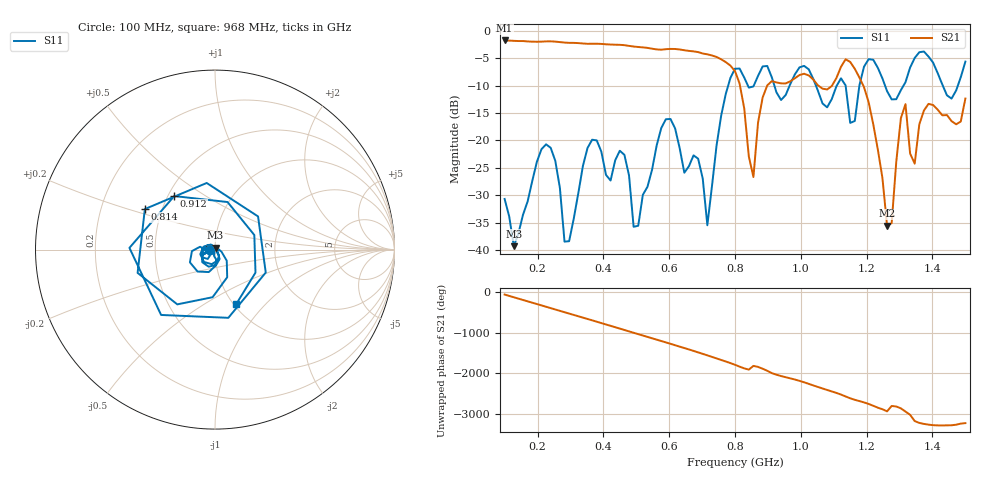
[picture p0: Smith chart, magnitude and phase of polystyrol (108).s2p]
! NanoVNA-App
! Date: 2025-09-26 09:42:43
! Start: 100MHz Stop: 1,5GHz Points: 101
! S-Parameter data: F S11 S21 S12 S22
# Hz S RI R 50
!  Frequency  S11_Real  S11_Imag  S21_Real  S21_Imag  S12_Real  S12_Imag  S22_Real  S22_Imag
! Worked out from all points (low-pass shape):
!   101 points, 100 MHz to 1.5 GHz, reference 50 ohm
!   highest |S21| = -1.79 dB at 100 MHz (marker M1); lowest = -35.5 dB at 1.262 GHz (marker M2)
!   |S21| within 3 dB of the highest: start of sweep to 743.5 MHz
!   lowest |S11| = -39.3 dB at 128 MHz (marker M3), VSWR 1.02, Z = 50.3 + j1.06 ohm
!   |S11| at or under -10 dB: start of sweep to 779.3 MHz; 1.046 GHz to 1.109 GHz (63.65 MHz wide, 5.91 % of centre); 1.256 GHz to 1.312 GHz (56.28 MHz wide, 4.38 % of centre) (the widest 3 of 7)
!   S12 and S22 are empty: the file has one direction only
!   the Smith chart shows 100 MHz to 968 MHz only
!   S11 on the Smith chart (normalised r, x): 100 MHz: 0.94, -0.01; 814 MHz: 0.40, +0.23; 912 MHz: 0.54, +0.37; 968 MHz: 1.03, -0.70
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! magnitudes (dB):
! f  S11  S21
! 100 MHz  -30.7  -1.8
! 128 MHz  -39.3  -1.9
! 212 MHz  -21.6  -2.0
! 282 MHz  -38.4  -2.2
! 338 MHz  -24.6  -2.3
! 464 MHz  -22.6  -2.6
! 506 MHz  -35.5  -3.0
! 576 MHz  -17.7  -3.5
! 688 MHz  -23.3  -3.9
! 716 MHz  -35.4  -4.3
! 800 MHz  -6.9  -7.4
! 814 MHz  -6.9  -9.6
! 856 MHz  -10.2  -26.7
! 912 MHz  -8.5  -9.2
! 968 MHz  -9.7  -9.2
! 1.038 GHz  -8.8  -8.9
! 1.178 GHz  -10.0  -8.5
! 1.262 GHz  -11.0  -35.5
! 1.276 GHz  -12.5  -35.1
! 1.318 GHz  -9.4  -13.4
! 1.346 GHz  -5.0  -24.2
! 1.5 GHz  -5.6  -12.4
